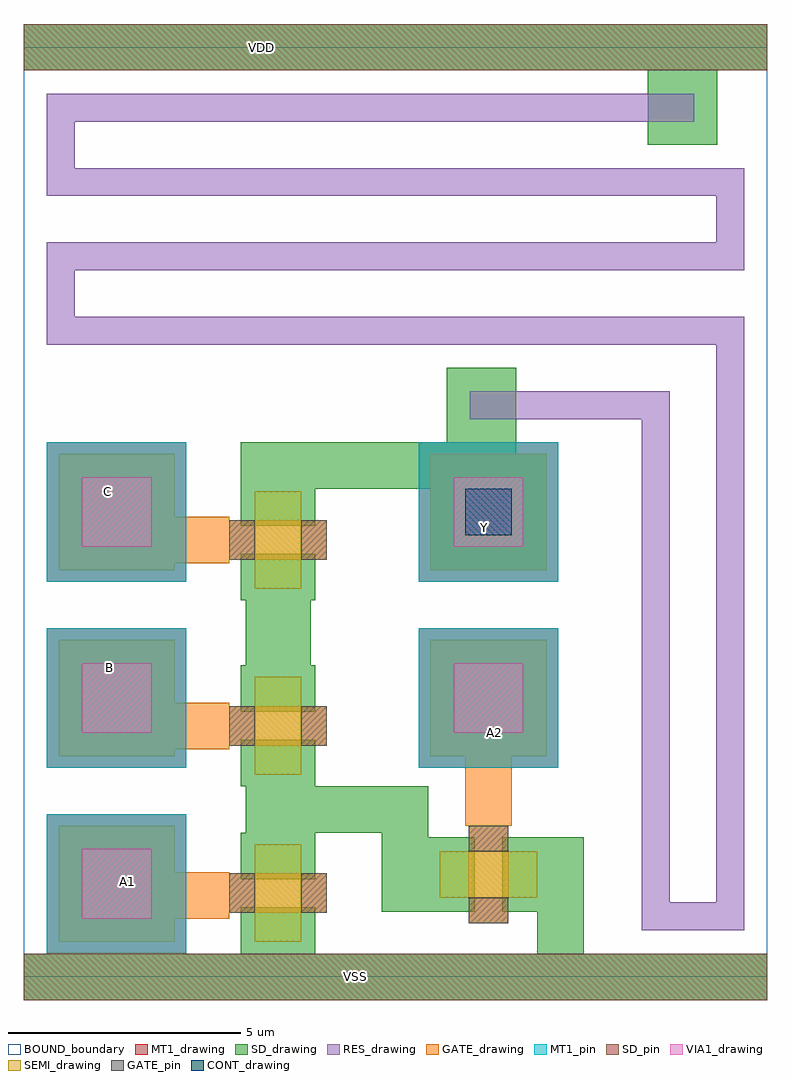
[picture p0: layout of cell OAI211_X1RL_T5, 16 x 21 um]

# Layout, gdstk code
from math import pi, radians
import gdstk
lib = gdstk.Library(unit=1e-6, precision=1e-09)
def R(c, l, rs):  # rectangles x0, y0, x1, y1
    for r in rs: c.add(gdstk.rectangle(r[:2], r[2:], *l))
def A(c, l, x, y, w, h, nx, ny, dx, dy):  # array of equal rectangles
    R(c, l, [(x+i*dx, y+j*dy, x+i*dx+w, y+j*dy+h) for i in range(nx) for j in range(ny)])
def P(c, l, *ps):  # polygons
    for p in ps: c.add(gdstk.Polygon(p, *l))
RES_drawing = (1, 0)
SEMI_drawing = (3, 0)
SD_drawing = (10, 0)
SD_pin = (10, 3)
GATE_drawing = (11, 0)
GATE_pin = (11, 3)
MT1_drawing = (20, 0)
MT1_pin = (20, 3)
CONT_drawing = (30, 0)
VIA1_drawing = (41, 0)
BOUND_boundary = (150, 5)

nch_cdns_772545117160 = lib.new_cell('nch_CDNS_772545117160')
R(nch_cdns_772545117160, SEMI_drawing, [(-1.05,-0.5,1.05,0.5)])
R(nch_cdns_772545117160, SD_drawing, [(-1.3,-0.8,-0.3,0.8), (0.3,-0.8,1.3,0.8)])
R(nch_cdns_772545117160, GATE_drawing, [(-0.425,-1.05,0.425,1.05)])
R(nch_cdns_772545117160, GATE_pin, [(-0.425,-1.05,0.425,-0.5), (-0.425,0.5,0.425,1.05)])

sd_gate_cdns_77254511716 = lib.new_cell('SD_GATE_CDNS_772545117160')
R(sd_gate_cdns_77254511716, SD_drawing, [(-1.25,-1.25,1.25,1.25)])
R(sd_gate_cdns_77254511716, GATE_drawing, [(-1.25,-1.25,1.25,1.25)])
R(sd_gate_cdns_77254511716, CONT_drawing, [(-0.5,-0.5,0.5,0.5)])

gate_mt1_cdns_7725451171 = lib.new_cell('GATE_MT1_CDNS_772545117161')
R(gate_mt1_cdns_7725451171, GATE_drawing, [(-1.25,-1.25,1.25,1.25)])
R(gate_mt1_cdns_7725451171, MT1_drawing, [(-1.25,-1.25,1.25,1.25)])
R(gate_mt1_cdns_7725451171, VIA1_drawing, [(-0.75,-0.75,0.75,0.75)])

oai211_x1rl_t5 = lib.new_cell('OAI211_X1RL_T5')
R(oai211_x1rl_t5, SD_drawing, [(0,-0.5,16,0.5), (11.05,0.5,12.05,3), (7.7,1.4,8.7,4.1), (6.175,3.1,8.7,4.1), (4.675,10.5,10.6,11.5), (9.1,11.5,10.6,13.1), (13.425,17.9,14.925,19.5), (0,19.5,16,20.5)])
R(oai211_x1rl_t5, SD_pin, [(0,-0.5,16,0.5), (0,19.5,16,20.5)])
P(oai211_x1rl_t5, GATE_drawing, [(4.325,9.9),(4.325,8.9),(4.425,8.9),(4.425,9.025),(4.475,9.025),(4.475,9.775),(4.425,9.775),(4.425,9.9)],
  [(4.325,5.9),(4.325,4.9),(4.425,4.9),(4.425,5.025),(4.475,5.025),(4.475,5.775),(4.425,5.775),(4.425,5.9)],
  [(4.325,2.25),(4.325,1.25),(4.425,1.25),(4.425,1.425),(4.475,1.425),(4.475,2.175),(4.425,2.175),(4.425,2.25)],
  [(10.5,3.35),(9.5,3.35),(9.5,3.25),(9.625,3.25),(9.625,3.2),(10.375,3.2),(10.375,3.25),(10.5,3.25)])
A(oai211_x1rl_t5, MT1_drawing, 0.5, 0.5, 3, 3, 1, 3, 0, 4)
R(oai211_x1rl_t5, MT1_drawing, [(8.5,4.5,11.5,7.5), (8.5,8.5,11.5,11.5)])
A(oai211_x1rl_t5, MT1_pin, 0.5, 0.5, 3, 3, 1, 3, 0, 4)
R(oai211_x1rl_t5, MT1_pin, [(8.5,4.5,11.5,7.5), (8.5,8.5,11.5,11.5)])
R(oai211_x1rl_t5, BOUND_boundary, [(0,0,16,20)])
oai211_x1rl_t5.add(gdstk.FlexPath([(5.475,3.1),(5.475,4.1)], 1.4, ends="flush", simple_path=True, layer=10, datatype=0))  # SD_drawing
oai211_x1rl_t5.add(gdstk.FlexPath([(5.475,6.7),(5.475,8.1)], 1.4, ends="flush", simple_path=True, layer=10, datatype=0))  # SD_drawing
oai211_x1rl_t5.add(gdstk.FlexPath([(10,3.35),(10,4.8)], 1, ends="flush", simple_path=True, layer=11, datatype=0))  # GATE_drawing
oai211_x1rl_t5.add(gdstk.FlexPath([(4.325,9.4),(2.7,9.4)], 1, ends="flush", simple_path=True, layer=11, datatype=0))  # GATE_drawing
oai211_x1rl_t5.add(gdstk.FlexPath([(4.325,5.4),(3.2,5.4)], 1, ends="flush", simple_path=True, layer=11, datatype=0))  # GATE_drawing
oai211_x1rl_t5.add(gdstk.FlexPath([(4.325,1.75),(3.2,1.75)], 1, ends="flush", simple_path=True, layer=11, datatype=0))  # GATE_drawing
oai211_x1rl_t5.add(gdstk.FlexPath([(9.6,12.3),(13.6,12.3),(13.6,1.3),(15.2,1.3),(15.2,13.9),(0.8,13.9),(0.8,15.5),(15.2,15.5),(15.2,17.1),(0.8,17.1),(0.8,18.7),(14.425,18.7)], 0.6, ends="flush", simple_path=True, layer=1, datatype=0))  # RES_drawing
oai211_x1rl_t5.add(gdstk.Reference(nch_cdns_772545117160, (10,2.2), rotation=pi))
oai211_x1rl_t5.add(gdstk.Reference(nch_cdns_772545117160, (5.475,1.8), rotation=pi/2))
oai211_x1rl_t5.add(gdstk.Reference(nch_cdns_772545117160, (5.475,5.4), rotation=pi/2))
oai211_x1rl_t5.add(gdstk.Reference(nch_cdns_772545117160, (5.475,9.4), rotation=pi/2))
oai211_x1rl_t5.add(gdstk.Reference(sd_gate_cdns_77254511716, (10,10)))
oai211_x1rl_t5.add(gdstk.Reference(gate_mt1_cdns_7725451171, (10,10)))
oai211_x1rl_t5.add(gdstk.Reference(gate_mt1_cdns_7725451171, (10,6)))
oai211_x1rl_t5.add(gdstk.Reference(gate_mt1_cdns_7725451171, (2,10)))
oai211_x1rl_t5.add(gdstk.Reference(gate_mt1_cdns_7725451171, (2,2)))
oai211_x1rl_t5.add(gdstk.Reference(gate_mt1_cdns_7725451171, (2,6)))
oai211_x1rl_t5.add(gdstk.Label('VDD', (5.125,20), layer=10, texttype=3))
oai211_x1rl_t5.add(gdstk.Label('VSS', (7.15,0), layer=10, texttype=3))
oai211_x1rl_t5.add(gdstk.Label('A2', (10.125,5.25), layer=20, texttype=3))
oai211_x1rl_t5.add(gdstk.Label('Y', (9.925,9.675), layer=20, texttype=3))
oai211_x1rl_t5.add(gdstk.Label('C', (1.8,10.45), layer=20, texttype=3))
oai211_x1rl_t5.add(gdstk.Label('B', (1.85,6.65), layer=20, texttype=3))
oai211_x1rl_t5.add(gdstk.Label('A1', (2.225,2.05), layer=20, texttype=3))

lib.write_gds('OAI211_X1RL_T5.gds')
